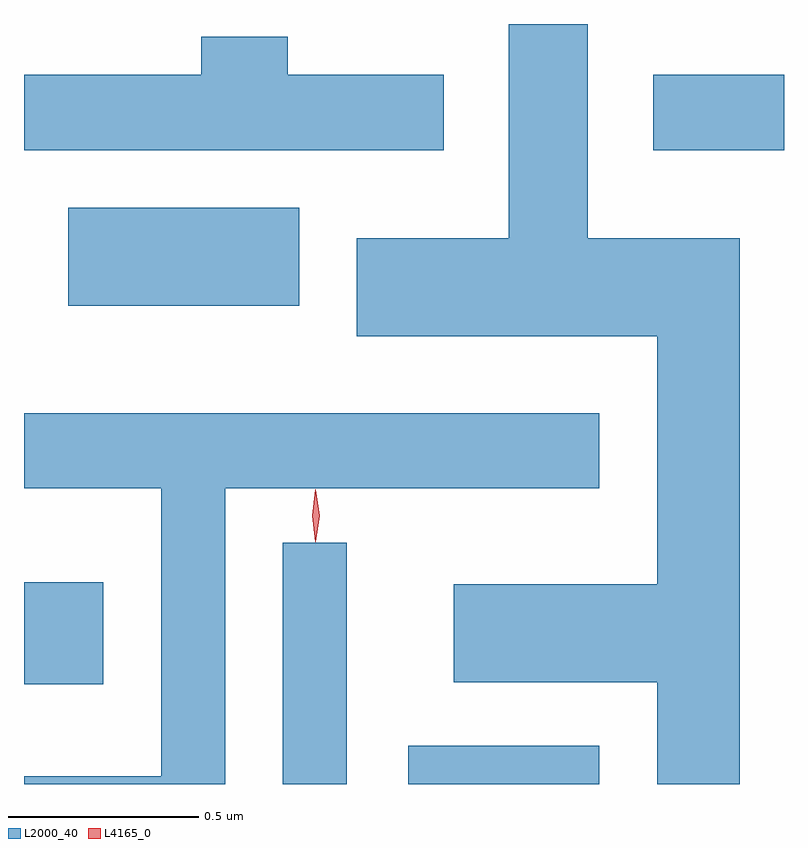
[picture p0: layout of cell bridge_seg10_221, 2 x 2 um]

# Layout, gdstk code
import gdstk
lib = gdstk.Library(unit=1e-6, precision=1e-09)
def R(c, l, rs):  # rectangles x0, y0, x1, y1
    for r in rs: c.add(gdstk.rectangle(r[:2], r[2:], *l))
def P(c, l, *ps):  # polygons
    for p in ps: c.add(gdstk.Polygon(p, *l))
L2000_40 = (2000, 40)
L4165_0 = (4165, 0)

bridge_seg10_221 = lib.new_cell('bridge_seg10_221')
R(bridge_seg10_221, L2000_40, [(1727.401,2141.538,1727.569,2142.173), (1727.731,2141.538,1728.234,2141.639), (1726.72,2141.801,1726.929,2142.069), (1726.836,2142.796,1727.444,2143.054), (1728.376,2143.206,1728.72,2143.404)])
P(bridge_seg10_221, L2000_40, [(1728.604,2142.974),(1728.204,2142.974),(1728.204,2143.538),(1727.996,2143.538),(1727.996,2142.974),(1727.596,2142.974),(1727.596,2142.716),(1728.386,2142.716),(1728.386,2142.064),(1727.851,2142.064),(1727.851,2141.806),(1728.386,2141.806),(1728.386,2141.538),(1728.604,2141.538)],
  [(1727.824,2143.404),(1727.414,2143.404),(1727.414,2143.504),(1727.186,2143.504),(1727.186,2143.404),(1726.72,2143.404),(1726.72,2143.206),(1727.824,2143.206)],
  [(1727.249,2142.316),(1728.234,2142.316),(1728.234,2142.514),(1726.72,2142.514),(1726.72,2142.316),(1727.081,2142.316),(1727.081,2141.559),(1726.72,2141.559),(1726.72,2141.538),(1727.249,2141.538)])
P(bridge_seg10_221, L4165_0, [(1727.487,2142.178),(1727.478,2142.244),(1727.487,2142.311),(1727.488,2142.311),(1727.488,2142.311),(1727.498,2142.244),(1727.488,2142.178),(1727.488,2142.178)],
  [(1727.488,2142.174),(1727.487,2142.175),(1727.478,2142.244),(1727.487,2142.313),(1727.488,2142.314),(1727.488,2142.313),(1727.498,2142.244),(1727.488,2142.175)])

lib.write_gds('bridge_seg10_221.gds')
